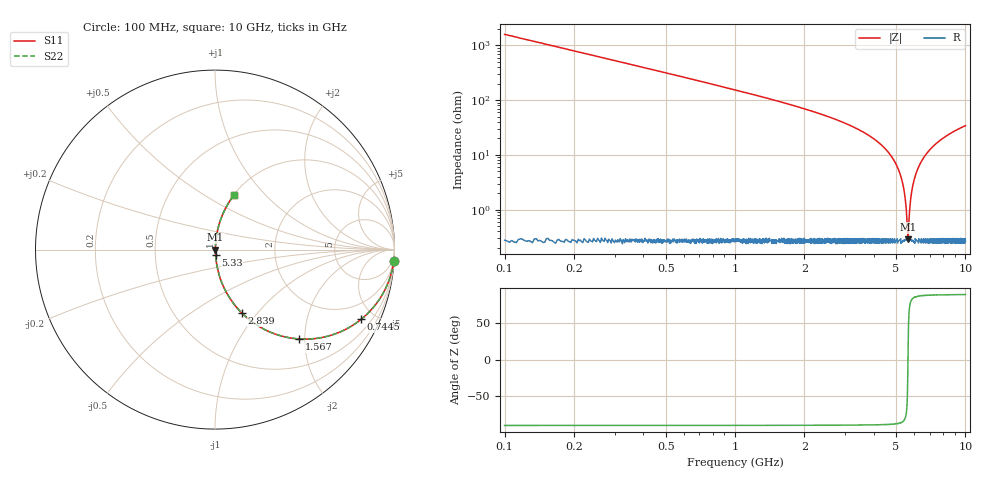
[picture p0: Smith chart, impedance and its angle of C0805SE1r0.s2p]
! AVX Thin Film Operation		Date: April 2012
! Description: Accu-P® Series, Thin Film, SMD, RF Capacitor
! Part Number: 08051J1R0PBTTR
!	100	MHz	-	8.05	GHz
!	Serial	Measurements
#	MHZ	S	MA	R	50
!	S11	S21	S12	S22
!	dB	Phase	dB	Phase	dB	Phase	dB	Phase
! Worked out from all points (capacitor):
!   4010 points, 100 MHz to 10 GHz, reference 50 ohm
!   read as one part in series: C = 1 pF near 149.4 MHz
!   lowest |Z| = 285 mohm at 5.634 GHz (marker M1)
!   series resonance near 5.633 GHz, so ESL is about 800 pH
!   S11 on the Smith chart (normalised r, x): 100 MHz: 1, -32; 744.5 MHz: 1.01, -4.20; 1.567 GHz: 1.00, -1.87; 2.839 GHz: 1.01, -0.84; 5.33 GHz: 1.01, -0.06; 10 GHz: 1.01, +0.68
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100  0.998 -3.6  0.063 86.4  0.063 86.4  0.998 -3.6
221.003  0.99 -7.9  0.138 82.1  0.138 82.1  0.99 -7.9
344.475  0.977 -12.3  0.212 77.7  0.212 77.7  0.977 -12.3
744.525  0.902 -25.4  0.43 64.5  0.43 64.5  0.902 -25.4
1566.85  0.683 -46.8  0.729 43.1  0.729 43.1  0.683 -46.8
1752.058  0.633 -50.5  0.772 39.3  0.772 39.3  0.633 -50.5
2838.613  0.385 -67.0  0.92 22.6  0.92 22.6  0.385 -67.0
3401.646  0.284 -73.0  0.956 16.5  0.956 16.5  0.284 -73.0
4411.649  0.138 -81.0  0.988 7.9  0.988 7.9  0.138 -81.0
5051.235  0.062 -84.0  0.995 3.5  0.995 3.5  0.062 -84.0
5330.282  0.031 -83.3  0.997 1.8  0.997 1.8  0.031 -83.3
5488.326  0.015 -78.8  0.997 0.8  0.997 0.8  0.015 -78.8
5601.921  0.00415 -49.3  0.997 0.2  0.997 0.2  0.00415 -49.3
5634.023  0.00269 1.4  0.997 -0.0  0.997 -0.0  0.00269 1.4
5663.657  0.00405 48.1  0.997 -0.2  0.997 -0.2  0.00405 48.1
5730.332  0.00999 73.8  0.997 -0.6  0.997 -0.6  0.00999 73.8
5787.129  0.015 79.1  0.997 -0.9  0.997 -0.9  0.015 79.1
5952.582  0.031 83.3  0.997 -1.8  0.997 -1.8  0.031 83.3
6256.323  0.059 84.0  0.996 -3.4  0.996 -3.4  0.059 84.0
6700.823  0.098 82.8  0.993 -5.6  0.993 -5.6  0.098 82.8
8350.412  0.222 76.5  0.972 -12.8  0.972 -12.8  0.222 76.5
10000  0.323 70.7  0.944 -18.9  0.944 -18.9  0.323 70.7
